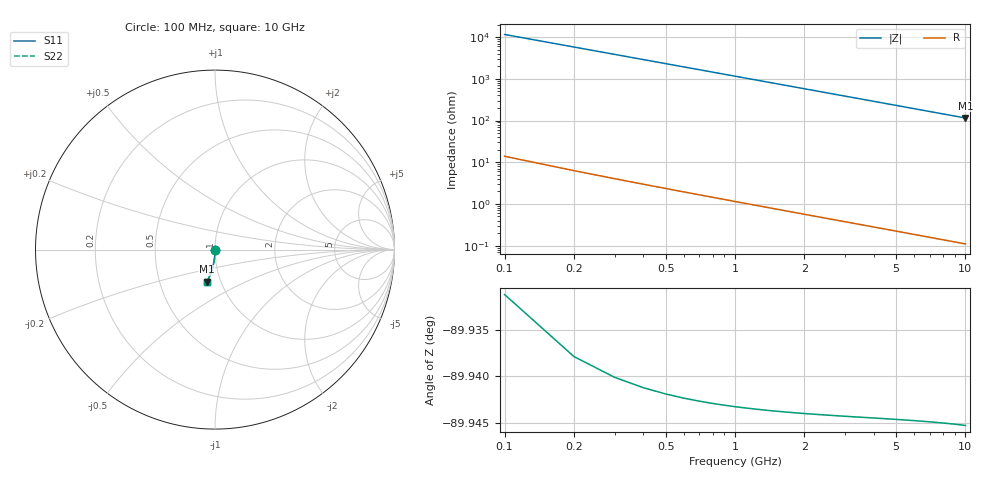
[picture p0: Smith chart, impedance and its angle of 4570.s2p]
# Hz S RI R 50.00
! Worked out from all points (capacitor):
!   100 points, 100 MHz to 10 GHz, reference 50 ohm
!   read as one part in shunt: C = 137 fF near 100 MHz
!   lowest |Z| = 115 ohm at 10 GHz (marker M1)
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1e8  7.94e-05 -0.00186  0.9999 -0.00245  0.9999 -0.00245  7.94e-05 -0.00186
2e8  6.42e-05 -0.00373  0.9999 -0.0049  0.9999 -0.0049  6.42e-05 -0.00373
3e8  3.97e-05 -0.00559  0.9999 -0.00735  0.9999 -0.00735  3.97e-05 -0.00559
4e8  5.98e-06 -0.00746  0.9998 -0.0098  0.9998 -0.0098  5.98e-06 -0.00746
5e8  -3.69e-05 -0.00932  0.9998 -0.0122  0.9998 -0.0122  -3.69e-05 -0.00932
6e8  -8.89e-05 -0.0112  0.9997 -0.0147  0.9997 -0.0147  -8.89e-05 -0.0112
7e8  -0.00015 -0.013  0.9997 -0.0171  0.9997 -0.0171  -0.00015 -0.013
8e8  -0.000221 -0.0149  0.9996 -0.0196  0.9996 -0.0196  -0.000221 -0.0149
9e8  -0.0003 -0.0168  0.9995 -0.022  0.9995 -0.022  -0.0003 -0.0168
1.1e9  -0.000487 -0.0205  0.9993 -0.0269  0.9993 -0.0269  -0.000487 -0.0205
1.4e9  -0.000835 -0.0261  0.999 -0.0343  0.999 -0.0343  -0.000835 -0.0261
1.8e9  -0.00143 -0.0335  0.9983 -0.0441  0.9983 -0.0441  -0.00143 -0.0335
2.1e9  -0.00197 -0.0391  0.9978 -0.0514  0.9978 -0.0514  -0.00197 -0.0391
2.5e9  -0.00282 -0.0465  0.9969 -0.0612  0.9969 -0.0612  -0.00282 -0.0465
2.9e9  -0.00381 -0.0539  0.9959 -0.0709  0.9959 -0.0709  -0.00381 -0.0539
3.4e9  -0.00526 -0.0632  0.9944 -0.0831  0.9944 -0.0831  -0.00526 -0.0632
4.2e9  -0.00805 -0.0779  0.9915 -0.1025  0.9915 -0.1025  -0.00805 -0.0779
5.1e9  -0.0119 -0.0943  0.9875 -0.1242  0.9875 -0.1242  -0.0119 -0.0943
5.9e9  -0.0159 -0.1087  0.9833 -0.1434  0.9833 -0.1434  -0.0159 -0.1087
6.7e9  -0.0204 -0.1229  0.9786 -0.1624  0.9786 -0.1624  -0.0204 -0.1229
8.4e9  -0.0319 -0.1523  0.9667 -0.202  0.9667 -0.202  -0.0319 -0.1523
1e10  -0.0448 -0.1789  0.9532 -0.2382  0.9532 -0.2382  -0.0448 -0.1789
